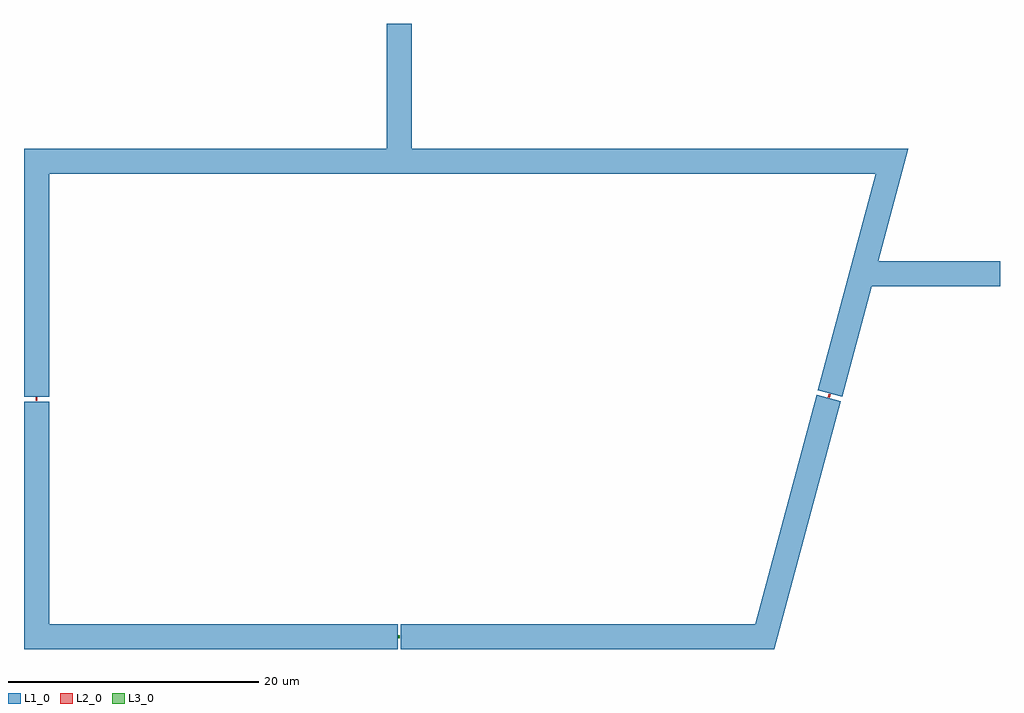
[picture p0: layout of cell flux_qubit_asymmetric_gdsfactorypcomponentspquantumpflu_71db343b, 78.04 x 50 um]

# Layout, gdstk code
import gdstk
lib = gdstk.Library(unit=1e-6, precision=1e-09)
def R(c, l, rs):  # rectangles x0, y0, x1, y1
    for r in rs: c.add(gdstk.rectangle(r[:2], r[2:], *l))
def P(c, l, *ps):  # polygons
    for p in ps: c.add(gdstk.Polygon(p, *l))
L1_0 = (1, 0)
L2_0 = (2, 0)
L3_0 = (3, 0)

flux_qubit_asymmetric_gd = lib.new_cell('flux_qubit_asymmetric_gdsfactorypcomponentspquantumpflu_71db343b')
P(flux_qubit_asymmetric_gd, L1_0, [(-30,-20),(-30,-0.2),(-28,-0.2),(-28,-18),(-0.11,-18),(-0.11,-20)],
  [(0.11,-20),(0.11,-18),(28.465,-18),(33.375,0.324),(35.307,-0.193),(30,-20)],
  [(35.411,0.193),(33.479,0.711),(38.112,18),(-28,18),(-28,0.2),(-30,0.2),(-30,20),(-1,20),(-1,30),(1,30),(1,20),(40.718,20),(38.307,11),(48.038,11),(48.038,9),(37.771,9)])
R(flux_qubit_asymmetric_gd, L2_0, [(-29.075,-0.15,-28.925,0.15)])
P(flux_qubit_asymmetric_gd, L2_0, [(34.427,0.095),(34.282,0.133),(34.359,0.423),(34.504,0.384)])
R(flux_qubit_asymmetric_gd, L3_0, [(-0.06,-19.125,0.06,-18.875)])

lib.write_gds('flux_qubit_asymmetric_gdsfactorypcomponentspquantumpflu_71db343b.gds')
